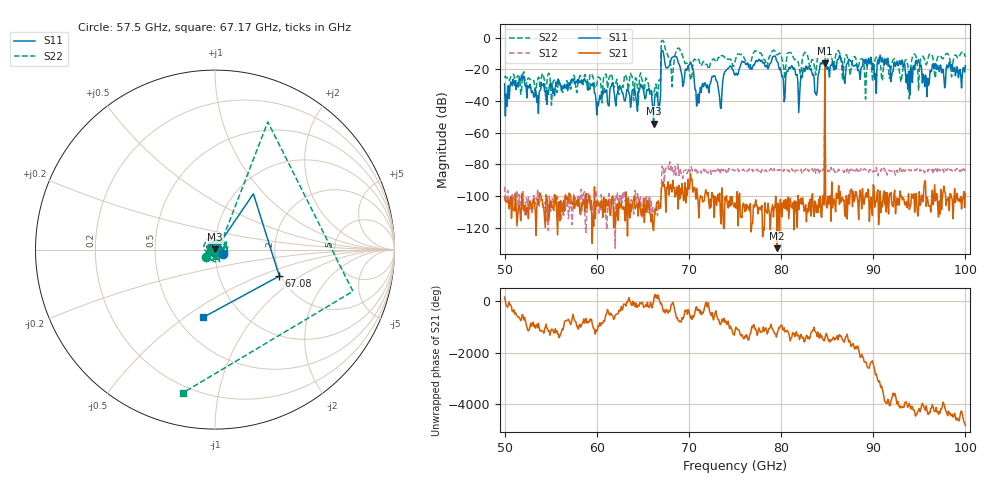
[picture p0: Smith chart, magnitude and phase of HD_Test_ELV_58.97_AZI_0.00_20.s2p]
! 11/25/2026 9:17:44 AM
! C:\ANRITSUVNA\TEMP\TEMP.S2P
! CHANNEL.1
! TR.MEASUREMENT
! RAW.DATA
# HZ S RI R 50.0
! FREQ.HZ  S11RE  S11IM  S21RE  S21IM  S12RE  S12IM  S22RE  S22IM
!; PortSelection: Port_12
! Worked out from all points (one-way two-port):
!   601 points, 50 GHz to 100 GHz, reference 50 ohm
!   highest |S21| = -16.17 dB at 84.75 GHz (marker M1); lowest = -133.0 dB at 79.58 GHz (marker M2)
!   lowest |S11| = -54.3 dB at 66.17 GHz (marker M3), VSWR 1.00, Z = 50.1 + j0.153 ohm
!   |S11| at or under -10 dB: start of sweep to 67 GHz; 67.24 GHz to end of sweep
!   |S22| runs from -42.6 to -1.8 dB; largest |S21 - S12| = 0.14
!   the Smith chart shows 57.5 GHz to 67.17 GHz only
!   S11 on the Smith chart (normalised r, x): 57.5 GHz: 1.09, -0.05; 67.08 GHz: 1.96, -0.68; 67.17 GHz: 0.67, -0.59
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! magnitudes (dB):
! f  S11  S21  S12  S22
! 50 GHz  -29.2  -101.0  -94.1  -25.3
! 57.5 GHz  -26.3  -100.2  -99.2  -23.7
! 58.42 GHz  -27.2  -106.5  -109.6  -29.0
! 60.17 GHz  -43.1  -105.0  -102.3  -24.8
! 61.67 GHz  -28.7  -100.4  -105.7  -24.5
! 66.17 GHz  -54.3  -121.9  -109.8  -35.4
! 66.67 GHz  -41.9  -103.1  -107.7  -32.1
! 67.08 GHz  -8.2  -93.3  -81.1  -1.9
! 67.17 GHz  -8.3  -91.0  -82.7  -1.8
! 70.17 GHz  -15.5  -86.0  -84.1  -25.7
! 70.92 GHz  -40.7  -99.2  -85.6  -13.3
! 75 GHz  -23.7  -104.4  -83.9  -15.0
! 79.58 GHz  -15.2  -133.0  -84.0  -10.9
! 80.25 GHz  -27.6  -107.5  -84.4  -17.7
! 83.42 GHz  -23.8  -98.6  -82.8  -13.8
! 84.75 GHz  -18.9  -16.2  -37.0  -11.5
! 91.67 GHz  -16.7  -111.4  -83.8  -20.5
! 93.75 GHz  -32.7  -105.3  -84.3  -17.3
! 94.83 GHz  -15.0  -112.8  -82.7  -20.3
! 95.83 GHz  -37.3  -100.9  -83.5  -15.9
! 96.58 GHz  -19.5  -103.0  -83.4  -16.9
! 100 GHz  -17.7  -98.4  -84.5  -12.2
